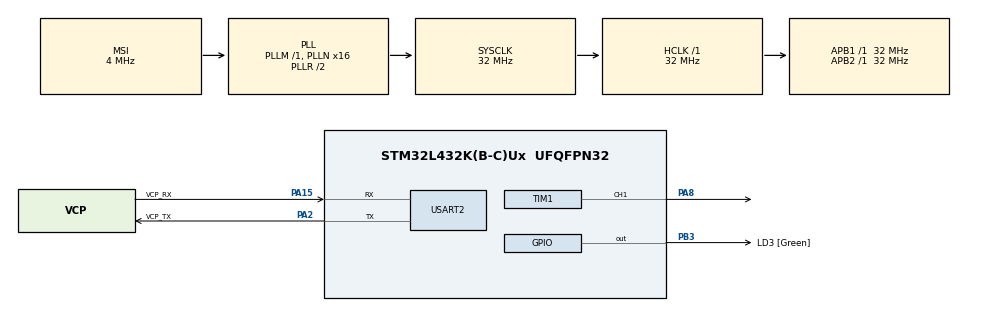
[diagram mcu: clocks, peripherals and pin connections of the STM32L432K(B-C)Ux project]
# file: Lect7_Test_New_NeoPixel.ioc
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Dma.Request0=TIM1_CH1
Dma.TIM1_CH1.0.Direction=DMA_MEMORY_TO_PERIPH
Dma.TIM1_CH1.0.Instance=DMA1_Channel2
Dma.TIM1_CH1.0.MemDataAlignment=DMA_MDATAALIGN_BYTE
Dma.TIM1_CH1.0.MemInc=DMA_MINC_ENABLE
Dma.TIM1_CH1.0.Mode=DMA_CIRCULAR
Dma.TIM1_CH1.0.PeriphDataAlignment=DMA_PDATAALIGN_HALFWORD
Dma.TIM1_CH1.0.PeriphInc=DMA_PINC_DISABLE
Dma.TIM1_CH1.0.Priority=DMA_PRIORITY_HIGH
Mcu.Family=STM32L4
Mcu.Name=STM32L432K(B-C)Ux
Mcu.Package=UFQFPN32
NVIC.DMA1_Channel2_IRQn=true\:0\:0\:false\:false\:true\:false\:true
NVIC.PriorityGroup=NVIC_PRIORITYGROUP_4
PA0.GPIO_Label=MCO [High speed clock in]
PA0.Mode=HSE-External-Clock-Source-for-LittleOrca
PA0.Signal=RCC_CK_IN
PA13\ (JTMS-SWDIO).GPIO_Label=SWDIO
PA13\ (JTMS-SWDIO).Mode=Serial_Wire
PA13\ (JTMS-SWDIO).Signal=SYS_JTMS-SWDIO
PA14\ (JTCK-SWCLK).GPIO_Label=SWCLK
PA14\ (JTCK-SWCLK).Mode=Serial_Wire
PA14\ (JTCK-SWCLK).Signal=SYS_JTCK-SWCLK
PA15\ (JTDI).GPIO_Label=VCP_RX
PA15\ (JTDI).Mode=Asynchronous
PA15\ (JTDI).Signal=USART2_RX
PA2.GPIO_Label=VCP_TX
PA2.Mode=Asynchronous
PA2.Signal=USART2_TX
PA8.Signal=S_TIM1_CH1
PB3\ (JTDO-TRACESWO).GPIO_Label=LD3 [Green]
PB3\ (JTDO-TRACESWO).Signal=GPIO_Output
PC14-OSC32_IN\ (PC14).Mode=LSE-External-Oscillator
PC14-OSC32_IN\ (PC14).Signal=RCC_OSC32_IN
PC15-OSC32_OUT\ (PC15).Mode=LSE-External-Oscillator
PC15-OSC32_OUT\ (PC15).Signal=RCC_OSC32_OUT
ProjectManager.HeapSize=0x200
ProjectManager.StackSize=0x400
ProjectManager.TargetToolchain=STM32CubeIDE
RCC.AHBFreq_Value=32000000
RCC.APB1Freq_Value=32000000
RCC.APB1TimFreq_Value=32000000
RCC.APB2Freq_Value=32000000
RCC.APB2TimFreq_Value=32000000
RCC.CortexFreq_Value=32000000
RCC.HCLKFreq_Value=32000000
RCC.HSE_VALUE=8000000
RCC.HSI16_VALUE=16000000
RCC.HSI48_VALUE=48000000
RCC.HSI_VALUE=16000000
RCC.MSI_VALUE=4000000
RCC.PLLMUL=RCC_PLLMUL_4
RCC.PLLN=16
RCC.SYSCLKFreq_VALUE=32000000
RCC.SYSCLKSource=RCC_SYSCLKSOURCE_PLLCLK
RCC.VCOOutputFreq_Value=64000000
SH.S_TIM1_CH1.0=TIM1_CH1,PWM Generation1 CH1
TIM1.Channel-PWM\ Generation1\ CH1=TIM_CHANNEL_1
TIM1.Period=39
TIM1.Prescaler=0
TIM1.Pulse-PWM\ Generation1\ CH1=19
USART2.VirtualMode-Asynchronous=VM_ASYNC
VP_TIM1_VS_ClockSourceINT.Mode=Internal
board=NUCLEO-L432KC

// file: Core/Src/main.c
/* USER CODE BEGIN Header */
/**
  ******************************************************************************
  * @file           : main.c
  * @brief          : Main program body
  ******************************************************************************
  * @attention
  *
  * <h2><center>&copy; Copyright (c) 2020 STMicroelectronics.
  * All rights reserved.</center></h2>
  *
  * This software component is licensed by ST under BSD 3-Clause license,
  * the "License"; You may not use this file except in compliance with the
  * License. You may obtain a copy of the License at:
  *                        opensource.org/licenses/BSD-3-Clause
  *
  ******************************************************************************
  */
/* USER CODE END Header */
#include "main.h"

/* USER CODE BEGIN PTD */

#define WS2812_FREQ			(800000)		// WS2812 requires 800kHz
#define TIMER_CLOCK_FREQ	(32000000)
#define TIMER_PERIOD		(TIMER_CLOCK_FREQ / WS2812_FREQ)

#define LED_NUMBER			(16)	// how many LEDs the MCU should control?
#define LED_DATA_SIZE		(LED_NUMBER * 24) // 24 bits per LED
#define RESET_SLOTS_BEGIN	(50)
#define RESET_SLOTS_END		(50)
#define WS2812_LAST_SLOT	(1)
#define LED_BUFFER_SIZE		(RESET_SLOTS_BEGIN + LED_DATA_SIZE + WS2812_LAST_SLOT + RESET_SLOTS_END)
#define WS2812_0			(TIMER_PERIOD / 3)				// WS2812's zero high time is long about one third of the period
#define WS2812_1			(TIMER_PERIOD * 2 / 3)		// WS2812's one high time is long about two thirds of the period
#define WS2812_RESET		(0)

/* USER CODE END PTD */

TIM_HandleTypeDef htim1;
DMA_HandleTypeDef hdma_tim1_ch1;

UART_HandleTypeDef huart2;

/* USER CODE BEGIN PV */
static uint8_t LEDbuffer[LED_BUFFER_SIZE];

/* this array holds the RGB values to represent
 * a color wheel using 256 steps on each emitter
 * 256^3 = 16777216 colors
 * It was taken from http://eliaselectronics.com/
 */
uint8_t colorsFull[766][3] = { { 255, 0, 0 }, { 254, 1, 0 }, { 253, 2, 0 }, {
		252, 3, 0 }, { 251, 4, 0 }, { 250, 5, 0 }, { 249, 6, 0 }, { 248, 7, 0 },
		{ 247, 8, 0 }, { 246, 9, 0 }, { 245, 10, 0 }, { 244, 11, 0 }, { 243, 12,
				0 }, { 242, 13, 0 }, { 241, 14, 0 }, { 240, 15, 0 }, { 239, 16,
				0 }, { 238, 17, 0 }, { 237, 18, 0 }, { 236, 19, 0 }, { 235, 20,
				0 }, { 234, 21, 0 }, { 233, 22, 0 }, { 232, 23, 0 }, { 231, 24,
				0 }, { 230, 25, 0 }, { 229, 26, 0 }, { 228, 27, 0 }, { 227, 28,
				0 }, { 226, 29, 0 }, { 225, 30, 0 }, { 224, 31, 0 }, { 223, 32,
				0 }, { 222, 33, 0 }, { 221, 34, 0 }, { 220, 35, 0 }, { 219, 36,
				0 }, { 218, 37, 0 }, { 217, 38, 0 }, { 216, 39, 0 }, { 215, 40,
				0 }, { 214, 41, 0 }, { 213, 42, 0 }, { 212, 43, 0 }, { 211, 44,
				0 }, { 210, 45, 0 }, { 209, 46, 0 }, { 208, 47, 0 }, { 207, 48,
				0 }, { 206, 49, 0 }, { 205, 50, 0 }, { 204, 51, 0 }, { 203, 52,
				0 }, { 202, 53, 0 }, { 201, 54, 0 }, { 200, 55, 0 }, { 199, 56,
				0 }, { 198, 57, 0 }, { 197, 58, 0 }, { 196, 59, 0 }, { 195, 60,
				0 }, { 194, 61, 0 }, { 193, 62, 0 }, { 192, 63, 0 }, { 191, 64,
				0 }, { 190, 65, 0 }, { 189, 66, 0 }, { 188, 67, 0 }, { 187, 68,
				0 }, { 186, 69, 0 }, { 185, 70, 0 }, { 184, 71, 0 }, { 183, 72,
				0 }, { 182, 73, 0 }, { 181, 74, 0 }, { 180, 75, 0 }, { 179, 76,
				0 }, { 178, 77, 0 }, { 177, 78, 0 }, { 176, 79, 0 }, { 175, 80,
				0 }, { 174, 81, 0 }, { 173, 82, 0 }, { 172, 83, 0 }, { 171, 84,
				0 }, { 170, 85, 0 }, { 169, 86, 0 }, { 168, 87, 0 }, { 167, 88,
				0 }, { 166, 89, 0 }, { 165, 90, 0 }, { 164, 91, 0 }, { 163, 92,
				0 }, { 162, 93, 0 }, { 161, 94, 0 }, { 160, 95, 0 }, { 159, 96,
				0 }, { 158, 97, 0 }, { 157, 98, 0 }, { 156, 99, 0 }, { 155, 100,
				0 }, { 154, 101, 0 }, { 153, 102, 0 }, { 152, 103, 0 }, { 151,
				104, 0 }, { 150, 105, 0 }, { 149, 106, 0 }, { 148, 107, 0 }, {
				147, 108, 0 }, { 146, 109, 0 }, { 145, 110, 0 },
		{ 144, 111, 0 }, { 143, 112, 0 }, { 142, 113, 0 }, { 141, 114, 0 }, {
				140, 115, 0 }, { 139, 116, 0 }, { 138, 117, 0 },
		{ 137, 118, 0 }, { 136, 119, 0 }, { 135, 120, 0 }, { 134, 121, 0 }, {
				133, 122, 0 }, { 132, 123, 0 }, { 131, 124, 0 },
		{ 130, 125, 0 }, { 129, 126, 0 }, { 128, 127, 0 }, { 127, 128, 0 }, {
				126, 129, 0 }, { 125, 130, 0 }, { 124, 131, 0 },
		{ 123, 132, 0 }, { 122, 133, 0 }, { 121, 134, 0 }, { 120, 135, 0 }, {
				119, 136, 0 }, { 118, 137, 0 }, { 117, 138, 0 },
		{ 116, 139, 0 }, { 115, 140, 0 }, { 114, 141, 0 }, { 113, 142, 0 }, {
				112, 143, 0 }, { 111, 144, 0 }, { 110, 145, 0 },
		{ 109, 146, 0 }, { 108, 147, 0 }, { 107, 148, 0 }, { 106, 149, 0 }, {
				105, 150, 0 }, { 104, 151, 0 }, { 103, 152, 0 },
		{ 102, 153, 0 }, { 101, 154, 0 }, { 100, 155, 0 }, { 99, 156, 0 }, { 98,
				157, 0 }, { 97, 158, 0 }, { 96, 159, 0 }, { 95, 160, 0 }, { 94,
				161, 0 }, { 93, 162, 0 }, { 92, 163, 0 }, { 91, 164, 0 }, { 90,
				165, 0 }, { 89, 166, 0 }, { 88, 167, 0 }, { 87, 168, 0 }, { 86,
				169, 0 }, { 85, 170, 0 }, { 84, 171, 0 }, { 83, 172, 0 }, { 82,
				173, 0 }, { 81, 174, 0 }, { 80, 175, 0 }, { 79, 176, 0 }, { 78,
				177, 0 }, { 77, 178, 0 }, { 76, 179, 0 }, { 75, 180, 0 }, { 74,
				181, 0 }, { 73, 182, 0 }, { 72, 183, 0 }, { 71, 184, 0 }, { 70,
				185, 0 }, { 69, 186, 0 }, { 68, 187, 0 }, { 67, 188, 0 }, { 66,
				189, 0 }, { 65, 190, 0 }, { 64, 191, 0 }, { 63, 192, 0 }, { 62,
				193, 0 }, { 61, 194, 0 }, { 60, 195, 0 }, { 59, 196, 0 }, { 58,
				197, 0 }, { 57, 198, 0 }, { 56, 199, 0 }, { 55, 200, 0 }, { 54,
				201, 0 }, { 53, 202, 0 }, { 52, 203, 0 }, { 51, 204, 0 }, { 50,
				205, 0 }, { 49, 206, 0 }, { 48, 207, 0 }, { 47, 208, 0 }, { 46,
				209, 0 }, { 45, 210, 0 }, { 44, 211, 0 }, { 43, 212, 0 }, { 42,
				213, 0 }, { 41, 214, 0 }, { 40, 215, 0 }, { 39, 216, 0 }, { 38,
				217, 0 }, { 37, 218, 0 }, { 36, 219, 0 }, { 35, 220, 0 }, { 34,
				221, 0 }, { 33, 222, 0 }, { 32, 223, 0 }, { 31, 224, 0 }, { 30,
				225, 0 }, { 29, 226, 0 }, { 28, 227, 0 }, { 27, 228, 0 }, { 26,
				229, 0 }, { 25, 230, 0 }, { 24, 231, 0 }, { 23, 232, 0 }, { 22,
				233, 0 }, { 21, 234, 0 }, { 20, 235, 0 }, { 19, 236, 0 }, { 18,
				237, 0 }, { 17, 238, 0 }, { 16, 239, 0 }, { 15, 240, 0 }, { 14,
				241, 0 }, { 13, 242, 0 }, { 12, 243, 0 }, { 11, 244, 0 }, { 10,
				245, 0 }, { 9, 246, 0 }, { 8, 247, 0 }, { 7, 248, 0 }, { 6, 249,
				0 }, { 5, 250, 0 }, { 4, 251, 0 }, { 3, 252, 0 }, { 2, 253, 0 },
		{ 1, 254, 0 }, { 0, 255, 0 }, { 0, 254, 1 }, { 0, 253, 2 },
		{ 0, 252, 3 }, { 0, 251, 4 }, { 0, 250, 5 }, { 0, 249, 6 },
		{ 0, 248, 7 }, { 0, 247, 8 }, { 0, 246, 9 }, { 0, 245, 10 }, { 0, 244,
				11 }, { 0, 243, 12 }, { 0, 242, 13 }, { 0, 241, 14 }, { 0, 240,
				15 }, { 0, 239, 16 }, { 0, 238, 17 }, { 0, 237, 18 }, { 0, 236,
				19 }, { 0, 235, 20 }, { 0, 234, 21 }, { 0, 233, 22 }, { 0, 232,
				23 }, { 0, 231, 24 }, { 0, 230, 25 }, { 0, 229, 26 }, { 0, 228,
				27 }, { 0, 227, 28 }, { 0, 226, 29 }, { 0, 225, 30 }, { 0, 224,
				31 }, { 0, 223, 32 }, { 0, 222, 33 }, { 0, 221, 34 }, { 0, 220,
				35 }, { 0, 219, 36 }, { 0, 218, 37 }, { 0, 217, 38 }, { 0, 216,
				39 }, { 0, 215, 40 }, { 0, 214, 41 }, { 0, 213, 42 }, { 0, 212,
				43 }, { 0, 211, 44 }, { 0, 210, 45 }, { 0, 209, 46 }, { 0, 208,
				47 }, { 0, 207, 48 }, { 0, 206, 49 }, { 0, 205, 50 }, { 0, 204,
				51 }, { 0, 203, 52 }, { 0, 202, 53 }, { 0, 201, 54 }, { 0, 200,
				55 }, { 0, 199, 56 }, { 0, 198, 57 }, { 0, 197, 58 }, { 0, 196,
				59 }, { 0, 195, 60 }, { 0, 194, 61 }, { 0, 193, 62 }, { 0, 192,
				63 }, { 0, 191, 64 }, { 0, 190, 65 }, { 0, 189, 66 }, { 0, 188,
				67 }, { 0, 187, 68 }, { 0, 186, 69 }, { 0, 185, 70 }, { 0, 184,
				71 }, { 0, 183, 72 }, { 0, 182, 73 }, { 0, 181, 74 }, { 0, 180,
				75 }, { 0, 179, 76 }, { 0, 178, 77 }, { 0, 177, 78 }, { 0, 176,
				79 }, { 0, 175, 80 }, { 0, 174, 81 }, { 0, 173, 82 }, { 0, 172,
				83 }, { 0, 171, 84 }, { 0, 170, 85 }, { 0, 169, 86 }, { 0, 168,
				87 }, { 0, 167, 88 }, { 0, 166, 89 }, { 0, 165, 90 }, { 0, 164,
				91 }, { 0, 163, 92 }, { 0, 162, 93 }, { 0, 161, 94 }, { 0, 160,
				95 }, { 0, 159, 96 }, { 0, 158, 97 }, { 0, 157, 98 }, { 0, 156,
				99 }, { 0, 155, 100 }, { 0, 154, 101 }, { 0, 153, 102 }, { 0,
				152, 103 }, { 0, 151, 104 }, { 0, 150, 105 }, { 0, 149, 106 }, {
				0, 148, 107 }, { 0, 147, 108 }, { 0, 146, 109 },
		{ 0, 145, 110 }, { 0, 144, 111 }, { 0, 143, 112 }, { 0, 142, 113 }, { 0,
				141, 114 }, { 0, 140, 115 }, { 0, 139, 116 }, { 0, 138, 117 }, {
				0, 137, 118 }, { 0, 136, 119 }, { 0, 135, 120 },
		{ 0, 134, 121 }, { 0, 133, 122 }, { 0, 132, 123 }, { 0, 131, 124 }, { 0,
				130, 125 }, { 0, 129, 126 }, { 0, 128, 127 }, { 0, 127, 128 }, {
				0, 126, 129 }, { 0, 125, 130 }, { 0, 124, 131 },
		{ 0, 123, 132 }, { 0, 122, 133 }, { 0, 121, 134 }, { 0, 120, 135 }, { 0,
				119, 136 }, { 0, 118, 137 }, { 0, 117, 138 }, { 0, 116, 139 }, {
				0, 115, 140 }, { 0, 114, 141 }, { 0, 113, 142 },
		{ 0, 112, 143 }, { 0, 111, 144 }, { 0, 110, 145 }, { 0, 109, 146 }, { 0,
				108, 147 }, { 0, 107, 148 }, { 0, 106, 149 }, { 0, 105, 150 }, {
				0, 104, 151 }, { 0, 103, 152 }, { 0, 102, 153 },
		{ 0, 101, 154 }, { 0, 100, 155 }, { 0, 99, 156 }, { 0, 98, 157 }, { 0,
				97, 158 }, { 0, 96, 159 }, { 0, 95, 160 }, { 0, 94, 161 }, { 0,
				93, 162 }, { 0, 92, 163 }, { 0, 91, 164 }, { 0, 90, 165 }, { 0,
				89, 166 }, { 0, 88, 167 }, { 0, 87, 168 }, { 0, 86, 169 }, { 0,
				85, 170 }, { 0, 84, 171 }, { 0, 83, 172 }, { 0, 82, 173 }, { 0,
				81, 174 }, { 0, 80, 175 }, { 0, 79, 176 }, { 0, 78, 177 }, { 0,
				77, 178 }, { 0, 76, 179 }, { 0, 75, 180 }, { 0, 74, 181 }, { 0,
				73, 182 }, { 0, 72, 183 }, { 0, 71, 184 }, { 0, 70, 185 }, { 0,
				69, 186 }, { 0, 68, 187 }, { 0, 67, 188 }, { 0, 66, 189 }, { 0,
				65, 190 }, { 0, 64, 191 }, { 0, 63, 192 }, { 0, 62, 193 }, { 0,
				61, 194 }, { 0, 60, 195 }, { 0, 59, 196 }, { 0, 58, 197 }, { 0,
				57, 198 }, { 0, 56, 199 }, { 0, 55, 200 }, { 0, 54, 201 }, { 0,
				53, 202 }, { 0, 52, 203 }, { 0, 51, 204 }, { 0, 50, 205 }, { 0,
				49, 206 }, { 0, 48, 207 }, { 0, 47, 208 }, { 0, 46, 209 }, { 0,
				45, 210 }, { 0, 44, 211 }, { 0, 43, 212 }, { 0, 42, 213 }, { 0,
				41, 214 }, { 0, 40, 215 }, { 0, 39, 216 }, { 0, 38, 217 }, { 0,
				37, 218 }, { 0, 36, 219 }, { 0, 35, 220 }, { 0, 34, 221 }, { 0,
				33, 222 }, { 0, 32, 223 }, { 0, 31, 224 }, { 0, 30, 225 }, { 0,
				29, 226 }, { 0, 28, 227 }, { 0, 27, 228 }, { 0, 26, 229 }, { 0,
				25, 230 }, { 0, 24, 231 }, { 0, 23, 232 }, { 0, 22, 233 }, { 0,
				21, 234 }, { 0, 20, 235 }, { 0, 19, 236 }, { 0, 18, 237 }, { 0,
				17, 238 }, { 0, 16, 239 }, { 0, 15, 240 }, { 0, 14, 241 }, { 0,
				13, 242 }, { 0, 12, 243 }, { 0, 11, 244 }, { 0, 10, 245 }, { 0,
				9, 246 }, { 0, 8, 247 }, { 0, 7, 248 }, { 0, 6, 249 }, { 0, 5,
				250 }, { 0, 4, 251 }, { 0, 3, 252 }, { 0, 2, 253 },
		{ 0, 1, 254 }, { 0, 0, 255 }, { 1, 0, 254 }, { 2, 0, 253 },
		{ 3, 0, 252 }, { 4, 0, 251 }, { 5, 0, 250 }, { 6, 0, 249 },
		{ 7, 0, 248 }, { 8, 0, 247 }, { 9, 0, 246 }, { 10, 0, 245 }, { 11, 0,
				244 }, { 12, 0, 243 }, { 13, 0, 242 }, { 14, 0, 241 }, { 15, 0,
				240 }, { 16, 0, 239 }, { 17, 0, 238 }, { 18, 0, 237 }, { 19, 0,
				236 }, { 20, 0, 235 }, { 21, 0, 234 }, { 22, 0, 233 }, { 23, 0,
				232 }, { 24, 0, 231 }, { 25, 0, 230 }, { 26, 0, 229 }, { 27, 0,
				228 }, { 28, 0, 227 }, { 29, 0, 226 }, { 30, 0, 225 }, { 31, 0,
				224 }, { 32, 0, 223 }, { 33, 0, 222 }, { 34, 0, 221 }, { 35, 0,
				220 }, { 36, 0, 219 }, { 37, 0, 218 }, { 38, 0, 217 }, { 39, 0,
				216 }, { 40, 0, 215 }, { 41, 0, 214 }, { 42, 0, 213 }, { 43, 0,
				212 }, { 44, 0, 211 }, { 45, 0, 210 }, { 46, 0, 209 }, { 47, 0,
				208 }, { 48, 0, 207 }, { 49, 0, 206 }, { 50, 0, 205 }, { 51, 0,
				204 }, { 52, 0, 203 }, { 53, 0, 202 }, { 54, 0, 201 }, { 55, 0,
				200 }, { 56, 0, 199 }, { 57, 0, 198 }, { 58, 0, 197 }, { 59, 0,
				196 }, { 60, 0, 195 }, { 61, 0, 194 }, { 62, 0, 193 }, { 63, 0,
				192 }, { 64, 0, 191 }, { 65, 0, 190 }, { 66, 0, 189 }, { 67, 0,
				188 }, { 68, 0, 187 }, { 69, 0, 186 }, { 70, 0, 185 }, { 71, 0,
				184 }, { 72, 0, 183 }, { 73, 0, 182 }, { 74, 0, 181 }, { 75, 0,
				180 }, { 76, 0, 179 }, { 77, 0, 178 }, { 78, 0, 177 }, { 79, 0,
				176 }, { 80, 0, 175 }, { 81, 0, 174 }, { 82, 0, 173 }, { 83, 0,
				172 }, { 84, 0, 171 }, { 85, 0, 170 }, { 86, 0, 169 }, { 87, 0,
				168 }, { 88, 0, 167 }, { 89, 0, 166 }, { 90, 0, 165 }, { 91, 0,
				164 }, { 92, 0, 163 }, { 93, 0, 162 }, { 94, 0, 161 }, { 95, 0,
				160 }, { 96, 0, 159 }, { 97, 0, 158 }, { 98, 0, 157 }, { 99, 0,
				156 }, { 100, 0, 155 }, { 101, 0, 154 }, { 102, 0, 153 }, { 103,
				0, 152 }, { 104, 0, 151 }, { 105, 0, 150 }, { 106, 0, 149 }, {
				107, 0, 148 }, { 108, 0, 147 }, { 109, 0, 146 },
		{ 110, 0, 145 }, { 111, 0, 144 }, { 112, 0, 143 }, { 113, 0, 142 }, {
				114, 0, 141 }, { 115, 0, 140 }, { 116, 0, 139 },
		{ 117, 0, 138 }, { 118, 0, 137 }, { 119, 0, 136 }, { 120, 0, 135 }, {
				121, 0, 134 }, { 122, 0, 133 }, { 123, 0, 132 },
		{ 124, 0, 131 }, { 125, 0, 130 }, { 126, 0, 129 }, { 127, 0, 128 }, {
				128, 0, 127 }, { 129, 0, 126 }, { 130, 0, 125 },
		{ 131, 0, 124 }, { 132, 0, 123 }, { 133, 0, 122 }, { 134, 0, 121 }, {
				135, 0, 120 }, { 136, 0, 119 }, { 137, 0, 118 },
		{ 138, 0, 117 }, { 139, 0, 116 }, { 140, 0, 115 }, { 141, 0, 114 }, {
				142, 0, 113 }, { 143, 0, 112 }, { 144, 0, 111 },
		{ 145, 0, 110 }, { 146, 0, 109 }, { 147, 0, 108 }, { 148, 0, 107 }, {
				149, 0, 106 }, { 150, 0, 105 }, { 151, 0, 104 },
		{ 152, 0, 103 }, { 153, 0, 102 }, { 154, 0, 101 }, { 155, 0, 100 }, {
				156, 0, 99 }, { 157, 0, 98 }, { 158, 0, 97 }, { 159, 0, 96 }, {
				160, 0, 95 }, { 161, 0, 94 }, { 162, 0, 93 }, { 163, 0, 92 }, {
				164, 0, 91 }, { 165, 0, 90 }, { 166, 0, 89 }, { 167, 0, 88 }, {
				168, 0, 87 }, { 169, 0, 86 }, { 170, 0, 85 }, { 171, 0, 84 }, {
				172, 0, 83 }, { 173, 0, 82 }, { 174, 0, 81 }, { 175, 0, 80 }, {
				176, 0, 79 }, { 177, 0, 78 }, { 178, 0, 77 }, { 179, 0, 76 }, {
				180, 0, 75 }, { 181, 0, 74 }, { 182, 0, 73 }, { 183, 0, 72 }, {
				184, 0, 71 }, { 185, 0, 70 }, { 186, 0, 69 }, { 187, 0, 68 }, {
				188, 0, 67 }, { 189, 0, 66 }, { 190, 0, 65 }, { 191, 0, 64 }, {
				192, 0, 63 }, { 193, 0, 62 }, { 194, 0, 61 }, { 195, 0, 60 }, {
				196, 0, 59 }, { 197, 0, 58 }, { 198, 0, 57 }, { 199, 0, 56 }, {
				200, 0, 55 }, { 201, 0, 54 }, { 202, 0, 53 }, { 203, 0, 52 }, {
				204, 0, 51 }, { 205, 0, 50 }, { 206, 0, 49 }, { 207, 0, 48 }, {
				208, 0, 47 }, { 209, 0, 46 }, { 210, 0, 45 }, { 211, 0, 44 }, {
				212, 0, 43 }, { 213, 0, 42 }, { 214, 0, 41 }, { 215, 0, 40 }, {
				216, 0, 39 }, { 217, 0, 38 }, { 218, 0, 37 }, { 219, 0, 36 }, {
				220, 0, 35 }, { 221, 0, 34 }, { 222, 0, 33 }, { 223, 0, 32 }, {
				224, 0, 31 }, { 225, 0, 30 }, { 226, 0, 29 }, { 227, 0, 28 }, {
				228, 0, 27 }, { 229, 0, 26 }, { 230, 0, 25 }, { 231, 0, 24 }, {
				232, 0, 23 }, { 233, 0, 22 }, { 234, 0, 21 }, { 235, 0, 20 }, {
				236, 0, 19 }, { 237, 0, 18 }, { 238, 0, 17 }, { 239, 0, 16 }, {
				240, 0, 15 }, { 241, 0, 14 }, { 242, 0, 13 }, { 243, 0, 12 }, {
				244, 0, 11 }, { 245, 0, 10 }, { 246, 0, 9 }, { 247, 0, 8 }, {
				248, 0, 7 }, { 249, 0, 6 }, { 250, 0, 5 }, { 251, 0, 4 }, { 252,
				0, 3 }, { 253, 0, 2 }, { 254, 0, 1 }, { 255, 0, 0 }, };

/* USER CODE END PV */

void SystemClock_Config(void);
static void MX_GPIO_Init(void);
static void MX_DMA_Init(void);
static void MX_USART2_UART_Init(void);
static void MX_TIM1_Init(void);

/* USER CODE BEGIN 0 */

void setLEDcolor(uint32_t LEDnumber, uint8_t RED, uint8_t GREEN, uint8_t BLUE) {
	uint8_t tempBuffer[24];
	uint32_t i;
	uint32_t LEDindex;
	LEDindex = LEDnumber % LED_NUMBER;

	for (i = 0; i < 8; i++) // GREEN data
		tempBuffer[i] = ((GREEN << i) & 0x80) ? WS2812_1 : WS2812_0;
	for (i = 0; i < 8; i++) // RED
		tempBuffer[8 + i] = ((RED << i) & 0x80) ? WS2812_1 : WS2812_0;
	for (i = 0; i < 8; i++) // BLUE
		tempBuffer[16 + i] = ((BLUE << i) & 0x80) ? WS2812_1 : WS2812_0;

	for (i = 0; i < 24; i++)
		LEDbuffer[RESET_SLOTS_BEGIN + LEDindex * 24 + i] = tempBuffer[i];
}

void setWHOLEcolor(uint8_t RED, uint8_t GREEN, uint8_t BLUE) {
	uint32_t index;

	for (index = 0; index < LED_NUMBER; index++)
		setLEDcolor(index, RED, GREEN, BLUE);
}

void fillBufferBlack(void) {
	/*Fill LED buffer - ALL OFF*/
	uint32_t index, buffIndex;
	buffIndex = 0;

	for (index = 0; index < RESET_SLOTS_BEGIN; index++) {
		LEDbuffer[buffIndex] = WS2812_RESET;
		buffIndex++;
	}
	for (index = 0; index < LED_DATA_SIZE; index++) {
		LEDbuffer[buffIndex] = WS2812_0;
		buffIndex++;
	}
	LEDbuffer[buffIndex] = WS2812_0;
	buffIndex++;
	for (index = 0; index < RESET_SLOTS_END; index++) {
		LEDbuffer[buffIndex] = 0;
		buffIndex++;
	}
}

void fillBufferWhite(void) {
	/*Fill LED buffer - ALL OFF*/
	uint32_t index, buffIndex;
	buffIndex = 0;

	for (index = 0; index < RESET_SLOTS_BEGIN; index++) {
		LEDbuffer[buffIndex] = WS2812_RESET;
		buffIndex++;
	}
	for (index = 0; index < LED_DATA_SIZE; index++) {
		LEDbuffer[buffIndex] = WS2812_1;
		buffIndex++;
	}
	LEDbuffer[buffIndex] = WS2812_0;
	buffIndex++;
	for (index = 0; index < RESET_SLOTS_END; index++) {
		LEDbuffer[buffIndex] = 0;
		buffIndex++;
	}
}

void stripEffect_ColorWheel(uint32_t interval) {
	uint32_t index = 0;
	uint32_t led, colorIndex;

	uint32_t tickstart = HAL_GetTick();

	while (HAL_GetTick()-tickstart<5000) {
		for (led = 0; led < LED_NUMBER; led++) {
			colorIndex = (index + led * (766 / LED_NUMBER)) % 766;
			setLEDcolor(led, colorsFull[colorIndex][0],
					colorsFull[colorIndex][1], colorsFull[colorIndex][2]);
		}
		index += (766 / LED_NUMBER);
		index %= 766;
		HAL_Delay(interval);
	}
}

void stripEffect_CircularRing(uint32_t interval, uint8_t red, uint8_t green,
		uint8_t blue) {
	uint32_t index = 0;
	uint32_t indexB = 8;
	uint32_t tickstart = HAL_GetTick();

	while (HAL_GetTick()-tickstart<5000) {
		setWHOLEcolor(0, 0, 0);
		setLEDcolor(index, red, green, blue);
		index++;
		setLEDcolor(indexB, green, blue, red);
		indexB--;

		if (index >= LED_NUMBER)
			index = 0;
		if( indexB >= LED_NUMBER)
			indexB = 15;

		HAL_Delay(interval);

	}
}
#define HEARTBEAT_STEPS		16

// the interval should be in the 300-1000 range for best visual effect
void stripEffect_HeartBeat(uint32_t interval, uint8_t red, uint8_t green,
		uint8_t blue) {
	uint8_t redInc, greenInc, blueInc;
	uint8_t maxRed, maxGreen, maxBlue;

	redInc = red / HEARTBEAT_STEPS;
	greenInc = green / HEARTBEAT_STEPS;
	blueInc = blue / HEARTBEAT_STEPS;

	maxRed = redInc * (HEARTBEAT_STEPS - 1);
	maxGreen = greenInc * (HEARTBEAT_STEPS - 1);
	maxBlue = blueInc * (HEARTBEAT_STEPS - 1);

	uint32_t index;

	setWHOLEcolor(0, 0, 0);

	while (1) {
		// first stroke
		for (index = 0; index < HEARTBEAT_STEPS; index++) {
			setWHOLEcolor(index * redInc, index * greenInc, index * blueInc);
//			vTaskDelay(interval / 50);
			HAL_Delay(interval/50);
		}
		for (index = 0; index < HEARTBEAT_STEPS; index++) {
			setWHOLEcolor(maxRed - index * redInc, maxGreen - index * greenInc,
					maxBlue - index * blueInc);
//			vTaskDelay(interval / 45);
			HAL_Delay(interval/45);
		}
		// second stroke
		for (index = 0; index < HEARTBEAT_STEPS; index++) {
			setWHOLEcolor(index * redInc, index * greenInc, index * blueInc);
//			vTaskDelay(interval / 40);
			HAL_Delay(interval/40);
		}
		for (index = 0; index < HEARTBEAT_STEPS; index++) {
			setWHOLEcolor(maxRed - index * redInc, maxGreen - index * greenInc,
					maxBlue - index * blueInc);
//			vTaskDelay(interval / 35);
			HAL_Delay(interval/35);
		}
		// relax..
		HAL_Delay(interval);
	}
}

/* USER CODE END 0 */

int main(void)
{

  /* MCU Configuration--------------------------------------------------------*/

  /* Reset of all peripherals, Initializes the Flash interface and the Systick. */
  HAL_Init();

  /* Configure the system clock */
  SystemClock_Config();

  /* Initialize all configured peripherals */
  MX_GPIO_Init();
  MX_DMA_Init();
  MX_USART2_UART_Init();
  MX_TIM1_Init();
  /* USER CODE BEGIN 2 */
  HAL_TIM_PWM_Stop_DMA(&htim1, TIM_CHANNEL_1);
  setWHOLEcolor(0,64,0);
  HAL_TIM_PWM_Start_DMA(&htim1, TIM_CHANNEL_1, (uint32_t *) LEDbuffer, LED_BUFFER_SIZE);
  /* USER CODE END 2 */

  /* Infinite loop */
  /* USER CODE BEGIN WHILE */
  while (1)
  {
	  stripEffect_ColorWheel(50);
	  stripEffect_CircularRing(50, 0,0,70);
//	  stripEffect_HeartBeat(500, 64,0,0);
    /* USER CODE END WHILE */

  }
}

void SystemClock_Config(void)
{
  RCC_OscInitTypeDef RCC_OscInitStruct = {0};
  RCC_ClkInitTypeDef RCC_ClkInitStruct = {0};
  RCC_PeriphCLKInitTypeDef PeriphClkInit = {0};

  /** Configure LSE Drive Capability
  */
  HAL_PWR_EnableBkUpAccess();
  __HAL_RCC_LSEDRIVE_CONFIG(RCC_LSEDRIVE_LOW);
  /** Initializes the RCC Oscillators according to the specified parameters
  * in the RCC_OscInitTypeDef structure.
  */
  RCC_OscInitStruct.OscillatorType = RCC_OSCILLATORTYPE_LSE|RCC_OSCILLATORTYPE_MSI;
  RCC_OscInitStruct.LSEState = RCC_LSE_ON;
  RCC_OscInitStruct.MSIState = RCC_MSI_ON;
  RCC_OscInitStruct.MSICalibrationValue = 0;
  RCC_OscInitStruct.MSIClockRange = RCC_MSIRANGE_6;
  RCC_OscInitStruct.PLL.PLLState = RCC_PLL_ON;
  RCC_OscInitStruct.PLL.PLLSource = RCC_PLLSOURCE_MSI;
  RCC_OscInitStruct.PLL.PLLM = 1;
  RCC_OscInitStruct.PLL.PLLN = 16;
  RCC_OscInitStruct.PLL.PLLP = RCC_PLLP_DIV7;
  RCC_OscInitStruct.PLL.PLLQ = RCC_PLLQ_DIV2;
  RCC_OscInitStruct.PLL.PLLR = RCC_PLLR_DIV2;
  if (HAL_RCC_OscConfig(&RCC_OscInitStruct) != HAL_OK)
  {
    Error_Handler();
  }
  /** Initializes the CPU, AHB and APB buses clocks
  */
  RCC_ClkInitStruct.ClockType = RCC_CLOCKTYPE_HCLK|RCC_CLOCKTYPE_SYSCLK
                              |RCC_CLOCKTYPE_PCLK1|RCC_CLOCKTYPE_PCLK2;
  RCC_ClkInitStruct.SYSCLKSource = RCC_SYSCLKSOURCE_PLLCLK;
  RCC_ClkInitStruct.AHBCLKDivider = RCC_SYSCLK_DIV1;
  RCC_ClkInitStruct.APB1CLKDivider = RCC_HCLK_DIV1;
  RCC_ClkInitStruct.APB2CLKDivider = RCC_HCLK_DIV1;

  if (HAL_RCC_ClockConfig(&RCC_ClkInitStruct, FLASH_LATENCY_1) != HAL_OK)
  {
    Error_Handler();
  }
  PeriphClkInit.PeriphClockSelection = RCC_PERIPHCLK_USART2;
  PeriphClkInit.Usart2ClockSelection = RCC_USART2CLKSOURCE_PCLK1;
  if (HAL_RCCEx_PeriphCLKConfig(&PeriphClkInit) != HAL_OK)
  {
    Error_Handler();
  }
  /** Configure the main internal regulator output voltage
  */
  if (HAL_PWREx_ControlVoltageScaling(PWR_REGULATOR_VOLTAGE_SCALE1) != HAL_OK)
  {
    Error_Handler();
  }
  /** Enable MSI Auto calibration
  */
  HAL_RCCEx_EnableMSIPLLMode();
}

static void MX_TIM1_Init(void)
{

  TIM_ClockConfigTypeDef sClockSourceConfig = {0};
  TIM_MasterConfigTypeDef sMasterConfig = {0};
  TIM_OC_InitTypeDef sConfigOC = {0};
  TIM_BreakDeadTimeConfigTypeDef sBreakDeadTimeConfig = {0};

  htim1.Instance = TIM1;
  htim1.Init.Prescaler = 0;
  htim1.Init.CounterMode = TIM_COUNTERMODE_UP;
  htim1.Init.Period = 39;
  htim1.Init.ClockDivision = TIM_CLOCKDIVISION_DIV1;
  htim1.Init.RepetitionCounter = 0;
  htim1.Init.AutoReloadPreload = TIM_AUTORELOAD_PRELOAD_DISABLE;
  if (HAL_TIM_Base_Init(&htim1) != HAL_OK)
  {
    Error_Handler();
  }
  sClockSourceConfig.ClockSource = TIM_CLOCKSOURCE_INTERNAL;
  if (HAL_TIM_ConfigClockSource(&htim1, &sClockSourceConfig) != HAL_OK)
  {
    Error_Handler();
  }
  if (HAL_TIM_PWM_Init(&htim1) != HAL_OK)
  {
    Error_Handler();
  }
  sMasterConfig.MasterOutputTrigger = TIM_TRGO_RESET;
  sMasterConfig.MasterOutputTrigger2 = TIM_TRGO2_RESET;
  sMasterConfig.MasterSlaveMode = TIM_MASTERSLAVEMODE_DISABLE;
  if (HAL_TIMEx_MasterConfigSynchronization(&htim1, &sMasterConfig) != HAL_OK)
  {
    Error_Handler();
  }
  sConfigOC.OCMode = TIM_OCMODE_PWM1;
  sConfigOC.Pulse = 19;
  sConfigOC.OCPolarity = TIM_OCPOLARITY_HIGH;
  sConfigOC.OCNPolarity = TIM_OCNPOLARITY_HIGH;
  sConfigOC.OCFastMode = TIM_OCFAST_DISABLE;
  sConfigOC.OCIdleState = TIM_OCIDLESTATE_RESET;
  sConfigOC.OCNIdleState = TIM_OCNIDLESTATE_RESET;
  if (HAL_TIM_PWM_ConfigChannel(&htim1, &sConfigOC, TIM_CHANNEL_1) != HAL_OK)
  {
    Error_Handler();
  }
  sBreakDeadTimeConfig.OffStateRunMode = TIM_OSSR_DISABLE;
  sBreakDeadTimeConfig.OffStateIDLEMode = TIM_OSSI_DISABLE;
  sBreakDeadTimeConfig.LockLevel = TIM_LOCKLEVEL_OFF;
  sBreakDeadTimeConfig.DeadTime = 0;
  sBreakDeadTimeConfig.BreakState = TIM_BREAK_DISABLE;
  sBreakDeadTimeConfig.BreakPolarity = TIM_BREAKPOLARITY_HIGH;
  sBreakDeadTimeConfig.BreakFilter = 0;
  sBreakDeadTimeConfig.Break2State = TIM_BREAK2_DISABLE;
  sBreakDeadTimeConfig.Break2Polarity = TIM_BREAK2POLARITY_HIGH;
  sBreakDeadTimeConfig.Break2Filter = 0;
  sBreakDeadTimeConfig.AutomaticOutput = TIM_AUTOMATICOUTPUT_DISABLE;
  if (HAL_TIMEx_ConfigBreakDeadTime(&htim1, &sBreakDeadTimeConfig) != HAL_OK)
  {
    Error_Handler();
  }
  HAL_TIM_MspPostInit(&htim1);

}

static void MX_USART2_UART_Init(void)
{

  huart2.Instance = USART2;
  huart2.Init.BaudRate = 115200;
  huart2.Init.WordLength = UART_WORDLENGTH_8B;
  huart2.Init.StopBits = UART_STOPBITS_1;
  huart2.Init.Parity = UART_PARITY_NONE;
  huart2.Init.Mode = UART_MODE_TX_RX;
  huart2.Init.HwFlowCtl = UART_HWCONTROL_NONE;
  huart2.Init.OverSampling = UART_OVERSAMPLING_16;
  huart2.Init.OneBitSampling = UART_ONE_BIT_SAMPLE_DISABLE;
  huart2.AdvancedInit.AdvFeatureInit = UART_ADVFEATURE_NO_INIT;
  if (HAL_UART_Init(&huart2) != HAL_OK)
  {
    Error_Handler();
  }

}

static void MX_DMA_Init(void)
{

  /* DMA controller clock enable */
  __HAL_RCC_DMA1_CLK_ENABLE();

  /* DMA interrupt init */
  /* DMA1_Channel2_IRQn interrupt configuration */
  HAL_NVIC_SetPriority(DMA1_Channel2_IRQn, 0, 0);
  HAL_NVIC_EnableIRQ(DMA1_Channel2_IRQn);

}

static void MX_GPIO_Init(void)
{
  GPIO_InitTypeDef GPIO_InitStruct = {0};

  /* GPIO Ports Clock Enable */
  __HAL_RCC_GPIOC_CLK_ENABLE();
  __HAL_RCC_GPIOA_CLK_ENABLE();
  __HAL_RCC_GPIOB_CLK_ENABLE();

  /*Configure GPIO pin Output Level */
  HAL_GPIO_WritePin(LD3_GPIO_Port, LD3_Pin, GPIO_PIN_RESET);

  /*Configure GPIO pin : LD3_Pin */
  GPIO_InitStruct.Pin = LD3_Pin;
  GPIO_InitStruct.Mode = GPIO_MODE_OUTPUT_PP;
  GPIO_InitStruct.Pull = GPIO_NOPULL;
  GPIO_InitStruct.Speed = GPIO_SPEED_FREQ_LOW;
  HAL_GPIO_Init(LD3_GPIO_Port, &GPIO_InitStruct);

}

/* USER CODE BEGIN 4 */
void HAL_TIM_PWM_PulseFinishedHalfCpltCallback(TIM_HandleTypeDef *htim)
{
	HAL_GPIO_WritePin(LD3_GPIO_Port, LD3_Pin, GPIO_PIN_RESET);
}

void HAL_TIM_PWM_PulseFinishedCallback(TIM_HandleTypeDef *htim)
{
	HAL_GPIO_WritePin(LD3_GPIO_Port, LD3_Pin, GPIO_PIN_SET);
}

/* USER CODE END 4 */

void Error_Handler(void)
{
}

/************************ (C) COPYRIGHT STMicroelectronics *****END OF FILE****/
